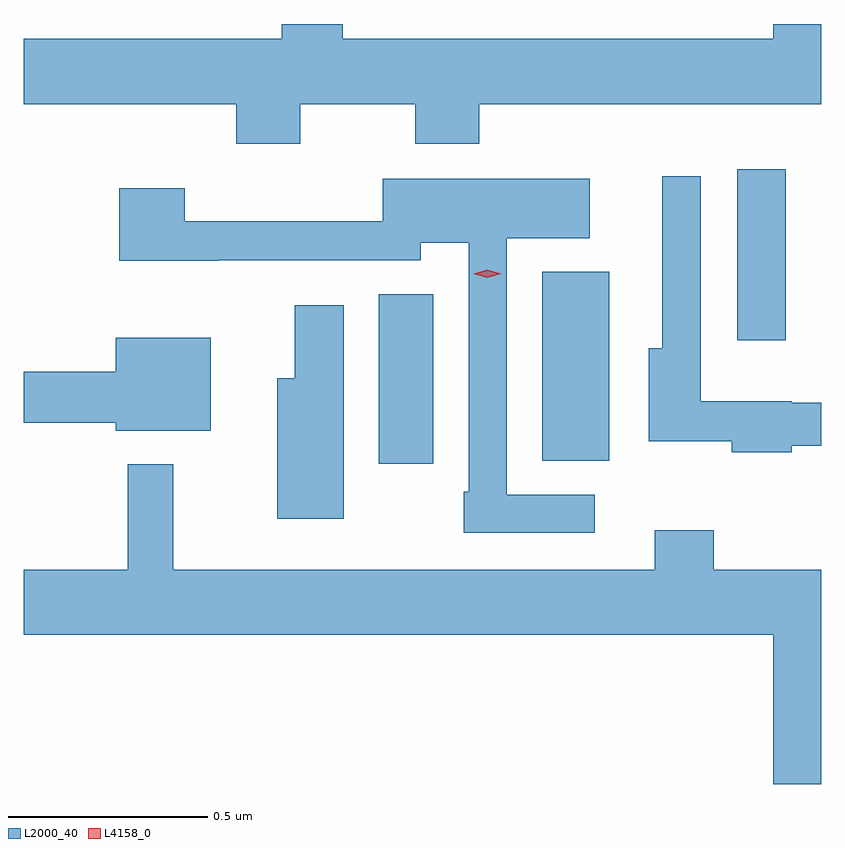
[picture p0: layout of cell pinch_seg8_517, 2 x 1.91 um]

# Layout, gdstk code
import gdstk
lib = gdstk.Library(unit=1e-6, precision=1e-09)
def R(c, l, rs):  # rectangles x0, y0, x1, y1
    for r in rs: c.add(gdstk.rectangle(r[:2], r[2:], *l))
def P(c, l, *ps):  # polygons
    for p in ps: c.add(gdstk.Polygon(p, *l))
L2000_40 = (2000, 40)
L4158_0 = (4158, 0)

pinch_seg8_517 = lib.new_cell('pinch_seg8_517')
R(pinch_seg8_517, L2000_40, [(223.958,1122.258,224.095,1122.683), (224.369,1122.265,224.536,1122.739), (224.858,1122.567,224.98,1122.997)])
P(pinch_seg8_517, L2000_40, [(223.761,1123.16),(224.05,1123.16),(224.05,1123.061),(224.21,1123.061),(224.21,1123.16),(225.068,1123.16),(225.068,1123.361),(224.948,1123.361),(224.948,1123.324),(223.868,1123.324),(223.868,1123.361),(223.715,1123.361),(223.715,1123.324),(223.068,1123.324),(223.068,1123.16),(223.601,1123.16),(223.601,1123.061),(223.761,1123.061)],
  [(224.994,1122.303),(225.068,1122.303),(225.068,1122.411),(224.994,1122.411),(224.994,1122.415),(224.766,1122.415),(224.766,1122.979),(224.669,1122.979),(224.669,1122.547),(224.636,1122.547),(224.636,1122.314),(224.844,1122.314),(224.844,1122.286),(224.994,1122.286)],
  [(224.5,1122.18),(224.28,1122.18),(224.28,1122.824),(224.488,1122.824),(224.488,1122.973),(223.968,1122.973),(223.968,1122.866),(223.472,1122.866),(223.472,1122.949),(223.307,1122.949),(223.307,1122.767),(223.555,1122.767),(223.555,1122.768),(224.064,1122.768),(224.064,1122.812),(224.184,1122.812),(224.184,1122.187),(224.172,1122.187),(224.172,1122.084),(224.5,1122.084)],
  [(223.87,1122.655),(223.748,1122.655),(223.748,1122.472),(223.703,1122.472),(223.703,1122.12),(223.87,1122.12)],
  [(223.537,1122.574),(223.298,1122.574),(223.298,1122.488),(223.068,1122.488),(223.068,1122.36),(223.298,1122.36),(223.298,1122.341),(223.537,1122.341)],
  [(225.068,1121.992),(224.799,1121.992),(224.799,1122.091),(224.651,1122.091),(224.651,1121.992),(223.442,1121.992),(223.442,1122.256),(223.329,1122.256),(223.329,1121.992),(223.068,1121.992),(223.068,1121.828),(224.948,1121.828),(224.948,1121.454),(225.068,1121.454)])
P(pinch_seg8_517, L4158_0, [(224.231,1122.724),(224.196,1122.734),(224.196,1122.734),(224.196,1122.734),(224.231,1122.744),(224.266,1122.734),(224.266,1122.734),(224.266,1122.734)])

lib.write_gds('pinch_seg8_517.gds')
